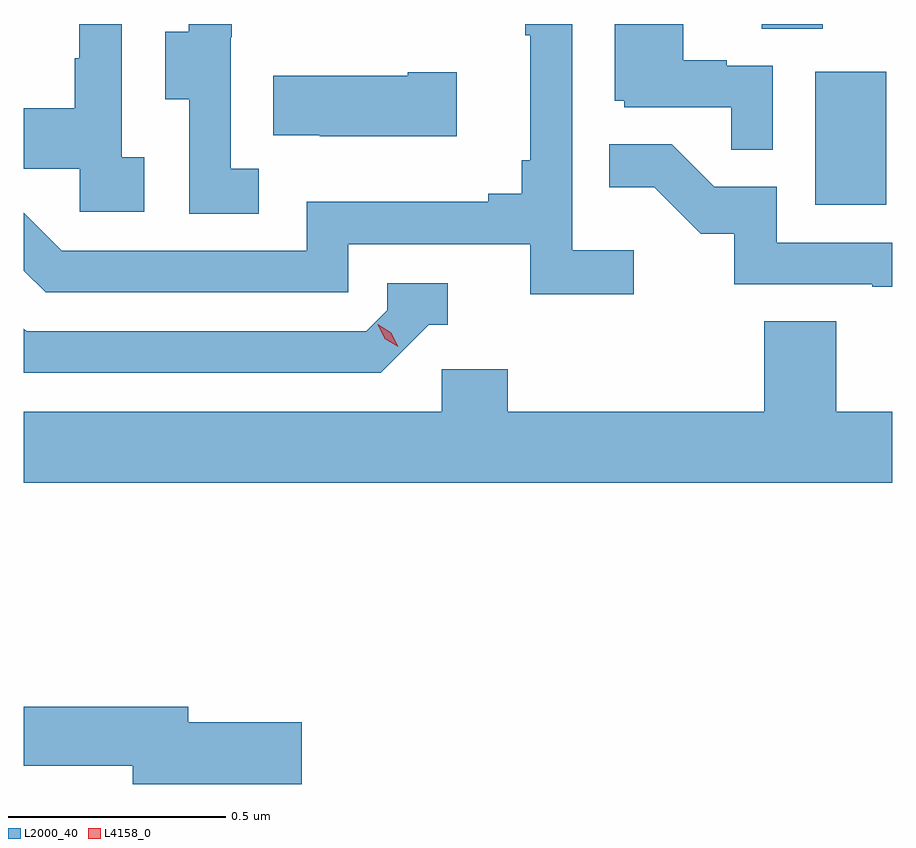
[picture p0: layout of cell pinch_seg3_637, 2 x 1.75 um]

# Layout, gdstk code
import gdstk
lib = gdstk.Library(unit=1e-6, precision=1e-09)
def R(c, l, rs):  # rectangles x0, y0, x1, y1
    for r in rs: c.add(gdstk.rectangle(r[:2], r[2:], *l))
def P(c, l, *ps):  # polygons
    for p in ps: c.add(gdstk.Polygon(p, *l))
L2000_40 = (2000, 40)
L4158_0 = (4158, 0)

pinch_seg3_637 = lib.new_cell('pinch_seg3_637')
R(pinch_seg3_637, L2000_40, [(1050.698,677.58,1050.862,677.887), (1050.575,677.986,1050.715,677.997)])
P(pinch_seg3_637, L2000_40, [(1049.416,677.663),(1049.352,677.663),(1049.352,677.967),(1049.354,677.967),(1049.354,677.997),(1049.255,677.997),(1049.255,677.979),(1049.201,677.979),(1049.201,677.824),(1049.256,677.824),(1049.256,677.56),(1049.416,677.56)],
  [(1049.152,677.69),(1049.1,677.69),(1049.1,677.997),(1049.002,677.997),(1049.002,677.918),(1048.992,677.918),(1048.992,677.803),(1048.875,677.803),(1048.875,677.663),(1049.004,677.663),(1049.004,677.565),(1049.152,677.565)],
  [(1050.28,677.476),(1050.138,677.476),(1050.138,677.997),(1050.03,677.997),(1050.03,677.971),(1050.041,677.971),(1050.041,677.683),(1050.022,677.683),(1050.022,677.606),(1049.945,677.606),(1049.945,677.587),(1049.526,677.587),(1049.526,677.475),(1048.962,677.475),(1048.875,677.562),(1048.875,677.429),(1048.925,677.379),(1049.622,677.379),(1049.622,677.49),(1050.041,677.49),(1050.041,677.374),(1050.28,677.374)],
  [(1050.6,677.901),(1050.494,677.901),(1050.494,677.914),(1050.394,677.914),(1050.394,677.997),(1050.236,677.997),(1050.236,677.82),(1050.258,677.82),(1050.258,677.805),(1050.505,677.805),(1050.505,677.707),(1050.6,677.707)],
  [(1049.872,677.886),(1049.759,677.886),(1049.759,677.878),(1049.449,677.878),(1049.449,677.741),(1049.557,677.741),(1049.557,677.738),(1049.872,677.738)],
  [(1050.875,677.493),(1050.609,677.493),(1050.609,677.622),(1050.465,677.622),(1050.367,677.72),(1050.223,677.72),(1050.223,677.621),(1050.327,677.621),(1050.434,677.514),(1050.511,677.514),(1050.511,677.397),(1050.829,677.397),(1050.829,677.392),(1050.875,677.392)],
  [(1049.808,677.304),(1049.851,677.304),(1049.851,677.4),(1049.712,677.4),(1049.712,677.337),(1049.664,677.289),(1048.881,677.289),(1048.875,677.295),(1048.875,677.193),(1049.697,677.193)],
  [(1050.875,677.104),(1050.746,677.104),(1050.746,677.312),(1050.581,677.312),(1050.581,677.104),(1049.99,677.104),(1049.99,677.202),(1049.838,677.202),(1049.838,677.104),(1048.875,677.104),(1048.875,676.94),(1050.875,676.94)],
  [(1049.515,676.388),(1049.254,676.388),(1049.254,676.424),(1048.875,676.424),(1048.875,676.288),(1049.126,676.288),(1049.126,676.246),(1049.515,676.246)])
P(pinch_seg3_637, L4158_0, [(1049.737,677.253),(1049.706,677.272),(1049.69,677.305),(1049.69,677.305),(1049.69,677.305),(1049.721,677.286),(1049.737,677.253),(1049.737,677.253)])

lib.write_gds('pinch_seg3_637.gds')
